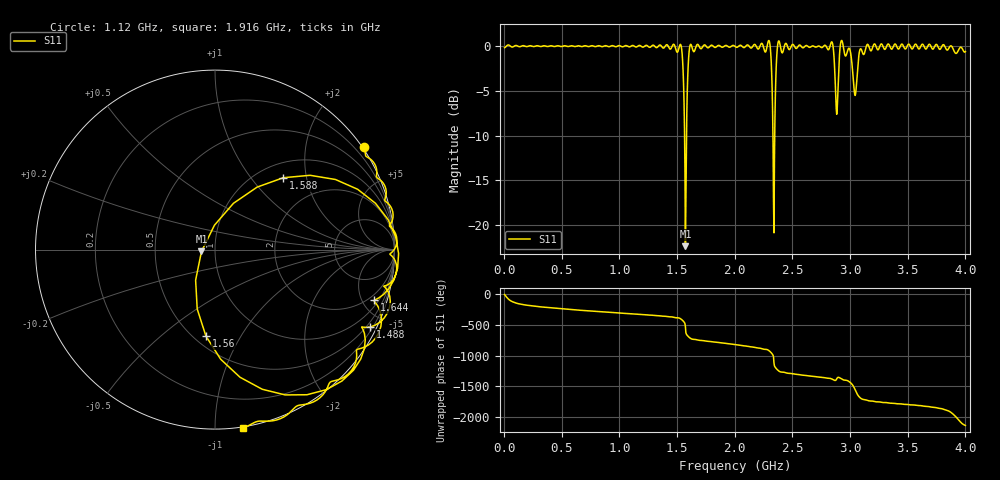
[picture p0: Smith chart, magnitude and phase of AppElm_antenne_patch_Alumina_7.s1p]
! TOUCHSTONE file generated by CST MICROWAVE STUDIO
! Date and time: Thu Jun  9 14:52:39 2022
! Project name: AppElm_antenne_patch_Alumina.cst
! Parameters = {L=30.5; W=41.8; e=0.035; h=1.6; lambda=0.190476; ls=90; w0=1.12; w1=0.373; ws=90; y0=14.7; y1=10}
! Header version: 2018
! Port assignment regex: !\s*Touchstone port\s*([0-9]+)\s*=\s*(CST MWS port|CST DS port)\s*([0-9]+|Zmin|Zmax)\s*\(\"(.*)\"\)(\s*mode\s*([0-9]+))?.*
! Touchstone port assignment:
! Touchstone port 1 = CST MWS port 1 ("")
# GHz S MA R 50
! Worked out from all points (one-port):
!   1000 points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, 4 MHz to 4 GHz, reference 50 ohm
!   lowest |S11| = -22.4 dB at 1.572 GHz (marker M1), VSWR 1.16, Z = 43 - j0.901 ohm
!   |S11| at or under -10 dB: 1.565 GHz to 1.581 GHz (16.59 MHz wide, 1.05 % of centre); 2.331 GHz to 2.347 GHz (15.52 MHz wide, 0.663 % of centre)
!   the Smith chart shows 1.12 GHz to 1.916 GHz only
!   S11 on the Smith chart (normalised r, x): 1.12 GHz: -0.04, +3.20; 1.488 GHz: 0.33, -4.22; 1.56 GHz: 0.57, -0.72; 1.588 GHz: 1.28, +1.47; 1.644 GHz: 1.44, -6.10; 1.916 GHz: -0.01, -1.17
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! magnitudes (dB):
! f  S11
! 4 MHz  -0.2
! 504 MHz  0.0
! 1.004 GHz  0.0
! 1.12 GHz  0.1
! 1.488 GHz  -0.3
! 1.504 GHz  -0.7
! 1.54 GHz  -0.4
! 1.56 GHz  -6.3
! 1.572 GHz  -22.4
! 1.588 GHz  -5.2
! 1.608 GHz  -0.2
! 1.644 GHz  -0.6
! 1.916 GHz  0.1
! 2.004 GHz  0.0
! 2.292 GHz  0.6
! 2.308 GHz  -0.1
! 2.34 GHz  -20.9
! 2.38 GHz  0.6
! 2.504 GHz  0.2
! 2.836 GHz  0.4
! 2.884 GHz  -7.6
! 2.928 GHz  0.6
! 3.004 GHz  -0.7
! 3.044 GHz  -5.5
! 3.088 GHz  -0.3
! 3.148 GHz  0.2
! 3.504 GHz  0.2
! 4 GHz  -0.6
